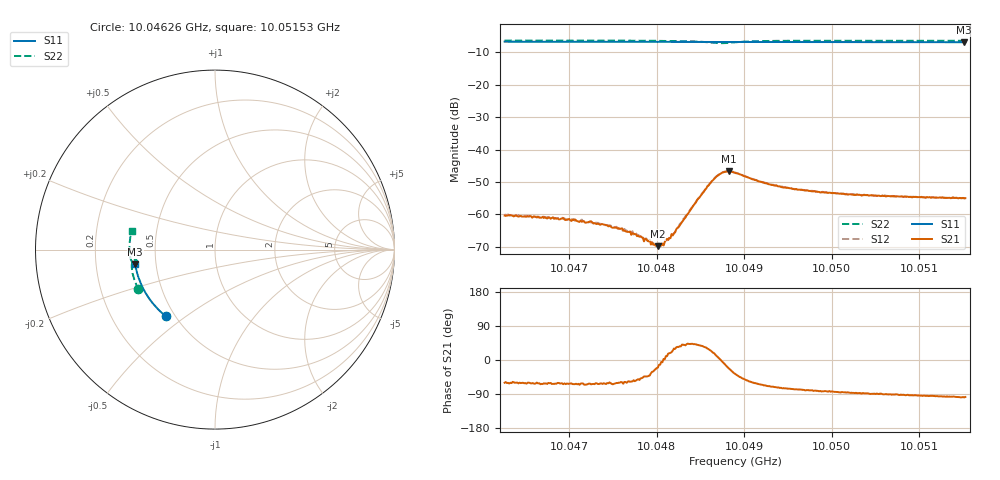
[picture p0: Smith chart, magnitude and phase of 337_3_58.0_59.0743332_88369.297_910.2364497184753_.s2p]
#  HZ  S  RI  R  50.00
! Rohde & Schwarz Vector Network Analyzer
! Rohde-Schwarz,ZNB20-2Port,1311601062101988,3.16
! Created: UTC 3/21/2024, 1:05:21 AM
! freq[Hz]  re:S11  im:S11  re:S21  im:S21  re:S12  im:S12  re:S22  im:S22
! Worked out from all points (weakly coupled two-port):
!   401 points, 10.04626 GHz to 10.05153 GHz, reference 50 ohm
!   highest |S21| = -46.73 dB at 10.04883 GHz (marker M1); lowest = -69.8 dB at 10.04801 GHz (marker M2)
!   lowest |S11| = -6.9 dB at 10.05151 GHz (marker M3), VSWR 2.65, Z = 19 - j3.91 ohm
!   |S11| at or under -10 dB: nowhere
!   |S22| runs from -7.2 to -6.4 dB; largest |S21 - S12| = 0.00034
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1.0046259e10  -0.2726 -0.3723  0.000481 -0.00083  0.000556 -0.000816  -0.4267 -0.2221
1.0046786e10  -0.2991 -0.3497  0.000421 -0.000747  0.000474 -0.000776  -0.4411 -0.1898
1.0047141e10  -0.3161 -0.3335  0.000365 -0.000678  0.000442 -0.000707  -0.4496 -0.1672
1.0047313e10  -0.324 -0.3254  0.000336 -0.000625  0.000387 -0.000626  -0.4531 -0.1559
1.0047576e10  -0.3356 -0.3125  0.000302 -0.000516  0.000346 -0.000509  -0.4579 -0.138
1.0047747e10  -0.343 -0.3039  0.000279 -0.000412  0.000324 -0.000411  -0.4607 -0.1262
1.0047918e10  -0.35 -0.295  0.000306 -0.000265  0.000333 -0.000214  -0.4629 -0.1134
1.0047958e10  -0.3517 -0.2929  0.000295 -0.000171  0.000316 -0.000175  -0.4631 -0.1103
1.0048011e10  -0.354 -0.2902  0.000304 -0.000112  0.000344 -7.87e-05  -0.4637 -0.1063
1.0048024e10  -0.3543 -0.2896  0.000329 -7.47e-05  0.000352 -5.88e-05  -0.4637 -0.1053
1.0048077e10  -0.3565 -0.2867  0.000332 1.5e-05  0.00037 5.27e-05  -0.4641 -0.1011
1.0048208e10  -0.3617 -0.2799  0.00046 0.00026  0.000465 0.000276  -0.4642 -0.0901
1.0048485e10  -0.372 -0.265  0.0014 0.00114  0.00136 0.00126  -0.4568 -0.0652
1.0048656e10  -0.3779 -0.2554  0.00337 0.00107  0.00338 0.00125  -0.4389 -0.0582
1.0048748e10  -0.3811 -0.2503  0.0044 -0.000319  0.00444 -7.54e-05  -0.4321 -0.0666
1.0048827e10  -0.3837 -0.2461  0.00424 -0.0018  0.00433 -0.00156  -0.4364 -0.0757
1.0048893e10  -0.3861 -0.2424  0.00353 -0.0026  0.00373 -0.00241  -0.4442 -0.0782
1.0049301e10  -0.3992 -0.2192  0.000983 -0.00271  0.00114 -0.00267  -0.4709 -0.0489
1.0049776e10  -0.4127 -0.1908  0.000399 -0.00224  0.000554 -0.00225  -0.4763 -0.0124
1.0050658e10  -0.4323 -0.1363  -2.3e-05 -0.00191  8.73e-05 -0.00192  -0.4742 0.0485
1.0051514e10  -0.4447 -0.0818  -0.000266 -0.00176  -0.000149 -0.00175  -0.4645 0.105
1.0051527e10  -0.4448 -0.081  -0.000238 -0.00177  -0.000136 -0.00178  -0.4643 0.1058
